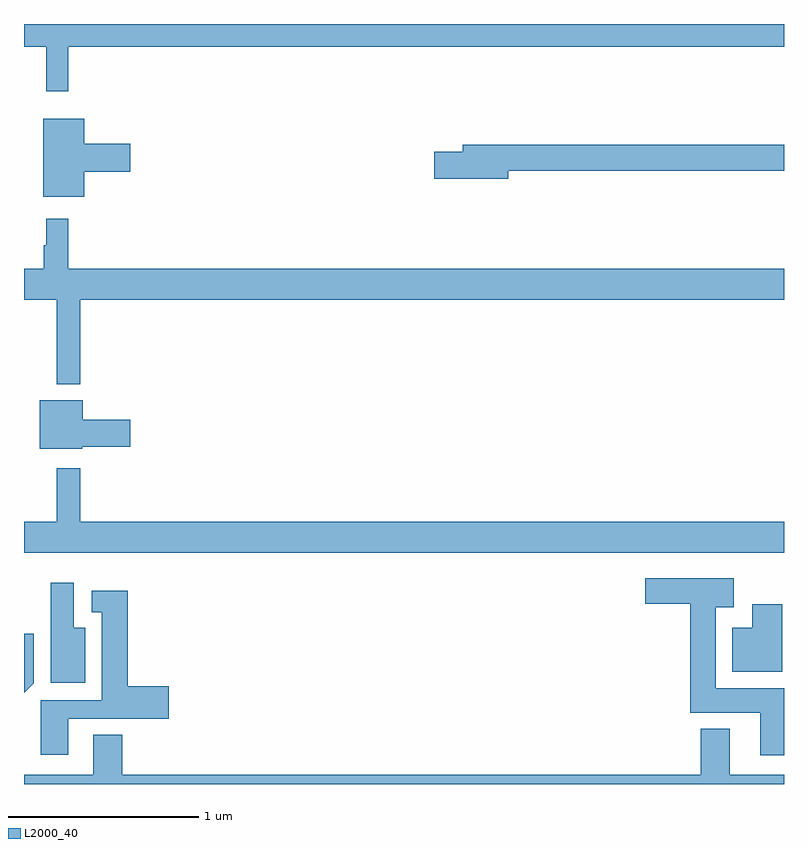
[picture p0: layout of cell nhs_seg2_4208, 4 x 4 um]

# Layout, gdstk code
import gdstk
lib = gdstk.Library(unit=1e-6, precision=1e-09)
def P(c, l, *ps):  # polygons
    for p in ps: c.add(gdstk.Polygon(p, *l))
L2000_40 = (2000, 40)

nhs_seg2_4208 = lib.new_cell('nhs_seg2_4208')
P(nhs_seg2_4208, L2000_40, [(339.233,603.68),(343,603.68),(343,603.8),(339,603.8),(339,603.68),(339.116,603.68),(339.116,603.447),(339.233,603.447)],
  [(339.316,603.023),(339.559,603.023),(339.559,603.17),(339.316,603.17),(339.316,603.301),(339.101,603.301),(339.101,602.891),(339.316,602.891)],
  [(341.548,603.028),(343,603.028),(343,603.164),(341.309,603.164),(341.309,603.128),(341.16,603.128),(341.16,602.986),(341.548,602.986)],
  [(339.173,601.904),(339.295,601.904),(339.295,602.348),(343,602.348),(343,602.512),(339.233,602.512),(339.233,602.776),(339.116,602.776),(339.116,602.636),(339.105,602.636),(339.105,602.512),(339,602.512),(339,602.348),(339.173,602.348)],
  [(339.306,601.576),(339.559,601.576),(339.559,601.718),(339.31,601.718),(339.31,601.819),(339.083,601.819),(339.083,601.565),(339.306,601.565)],
  [(339.173,601.462),(339.173,601.18),(339,601.18),(339,601.016),(343,601.016),(343,601.18),(339.295,601.18),(339.295,601.462)],
  [(343,600.304),(342.64,600.304),(342.64,600.731),(342.736,600.731),(342.736,600.883),(342.27,600.883),(342.27,600.749),(342.506,600.749),(342.506,600.176),(342.875,600.176),(342.875,599.952),(343,599.952)],
  [(339.322,600.622),(339.262,600.622),(339.262,600.859),(339.14,600.859),(339.14,600.332),(339.322,600.332)],
  [(339.232,600.144),(339.501,600.144),(339.501,600.143),(339.763,600.143),(339.763,600.314),(339.545,600.314),(339.545,600.817),(339.357,600.817),(339.357,600.704),(339.41,600.704),(339.41,600.24),(339.089,600.24),(339.089,599.955),(339.232,599.955)],
  [(342.991,600.745),(342.833,600.745),(342.833,600.622),(342.728,600.622),(342.728,600.392),(342.991,600.392)],
  [(339.051,600.33),(339.051,600.592),(339,600.592),(339,600.279)],
  [(343,599.848),(342.715,599.848),(342.715,600.091),(342.563,600.091),(342.563,599.848),(339.518,599.848),(339.518,600.058),(339.365,600.058),(339.365,599.848),(339,599.848),(339,599.8),(343,599.8)])

lib.write_gds('nhs_seg2_4208.gds')
